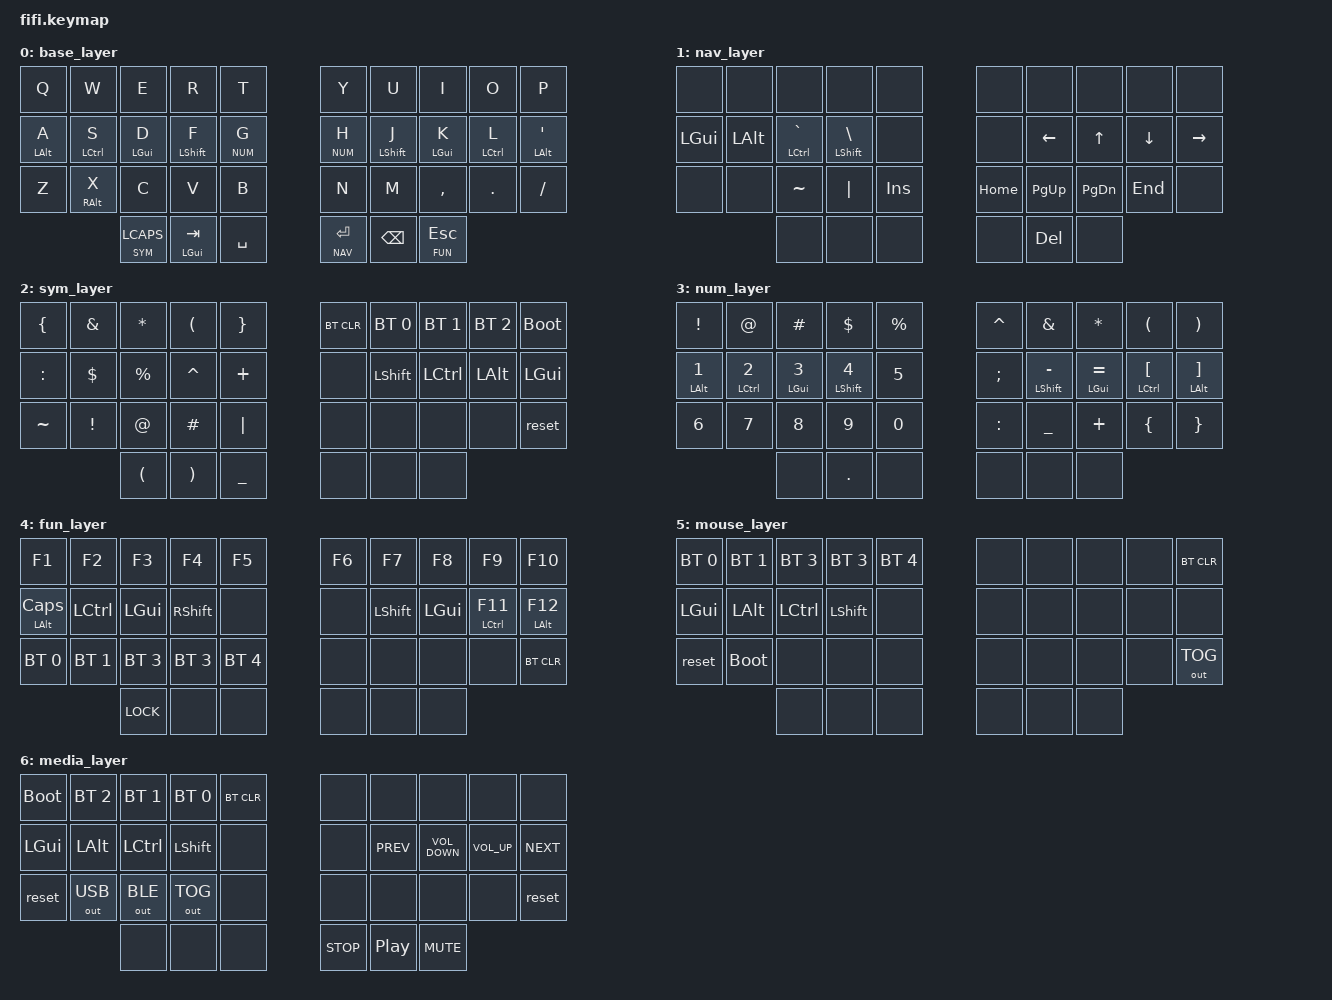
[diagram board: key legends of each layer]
/*
 * Copyright (c) 2020 The ZMK Contributors
 *
 * SPDX-License-Identifier: MIT
 */

#include <behaviors.dtsi>
#include <dt-bindings/zmk/keys.h>
#include <dt-bindings/zmk/bt.h>
#include <dt-bindings/zmk/outputs.h>

#define BASE    0
#define NAV     1
#define SYM     2
#define NUM     3
#define FUN     4
#define MOUSE   5
#define MEDIA   6

/ {
	behaviors {
		hm: homerow_mods {
			compatible = "zmk,behavior-hold-tap";
			label = "homerow mods";
			#binding-cells = <2>;
			tapping_term_ms = <120>;
			flavor = "tap-preferred";
			bindings = <&kp>, <&kp>;
		};
	};

    keymap {
        compatible = "zmk,keymap";

        base_layer {
            bindings = <
   &kp Q      &kp W        &kp E         &kp R         &kp T           &kp Y           &kp U          &kp I        &kp O         &kp P
   &hm LALT A &hm LCTRL S  &hm LGUI D    &hm LSHFT F   &lt NUM G       &lt NUM H       &hm LSHFT J    &hm LGUI K   &hm LCTRL L   &hm LALT SINGLE_QUOTE
   &kp Z      &hm RALT X   &kp C         &kp V         &kp B           &kp N           &kp M          &kp COMMA    &kp DOT       &kp FSLH
                           &lt SYM LCAPS     &hm LGUI TAB   &kp SPACE        &lt NAV ENTER   &kp BSPC  &lt FUN ESC
            >;
        };

        nav_layer {
            bindings = <
   &none      &none       &none            &none           &none        &none     &none     &none      &none      &none
   &kp LGUI   &kp LALT    &hm LCTRL GRAVE  &hm LSHFT BSLH  &none        &none     &kp LEFT  &kp UP     &kp DOWN   &kp RIGHT
   &none      &none       &kp TILDE        &kp PIPE        &kp INS      &kp HOME  &kp PG_UP  &kp PG_DN &kp END    &none   
                          &none            &none         &none        &none     &kp DEL     &none
            >;
        };

        sym_layer {
            bindings = <
   &kp LBRC    &kp AMPS   &kp ASTRK   &kp LPAR    &kp RBRC        &bt BT_CLR &bt BT_SEL 0   &bt BT_SEL 1   &bt BT_SEL 2   &bootloader
   &kp COLON   &kp DLLR   &kp PRCNT   &kp CARET   &kp PLUS        &none      &kp LSHFT      &kp LCTRL      &kp LALT       &kp LGUI
   &kp TILDE   &kp EXCL   &kp AT      &kp HASH    &kp PIPE        &none      &none          &none          &none          &reset
                          &kp LPAR    &kp RPAR    &kp UNDER       &none      &none          &none
            >;
        };

        num_layer {
            bindings = <
   &kp EXCL     &kp AT       &kp HASH     &kp DOLLAR   &kp PRCNT     &kp CARET      &kp AMPERSAND     &kp ASTRK        &kp LPAR                &kp RPAR
   &hm LALT N1  &hm LCTRL N2 &hm LGUI N3  &hm LSHFT N4 &kp N5        &kp SEMICOLON  &hm LSHFT MINUS   &hm LGUI EQUAL   &hm LCTRL LEFT_BRACKET  &hm LALT RIGHT_BRACKET
   &kp N6       &kp N7       &kp N8       &kp N9       &kp N0        &kp COLON      &kp UNDERSCORE    &kp PLUS         &kp LEFT_BRACE          &kp RIGHT_BRACE
                             &none        &kp DOT      &none         &none     &none       &none
            >;
        };

        fun_layer {
            bindings = <
   &kp F1            &kp F2         &kp F3       &kp F4       &kp F5           &kp F6    &kp F7        &kp F8      &kp F9          &kp F10
   &hm LALT CAPSLOCK &kp LCTRL      &kp LGUI     &kp RSHFT    &none            &none     &kp LSHFT     &kp LGUI    &hm LCTRL F11   &hm LALT F12
   &bt BT_SEL 0      &bt BT_SEL 1   &bt BT_SEL 3 &bt BT_SEL 3 &bt BT_SEL 4     &none     &none         &none       &none           &bt BT_CLR
                     &kp K_LOCK     &none        &none                         &none     &none         &none
            >;
        };

        mouse_layer {
            bindings = <
   &bt BT_SEL 0 &bt BT_SEL 1  &bt BT_SEL 3 &bt BT_SEL 3 &bt BT_SEL 4  &none &none &none &none &bt BT_CLR
   &kp LGUI     &kp LALT      &kp LCTRL    &kp LSHFT    &none       &none &none &none &none &none
   &reset       &bootloader   &none        &none       &none       &none &none &none &none &out OUT_TOG
                              &none        &none       &none       &none &none &none
            >;
        };

        media_layer {
            bindings = <
   &bootloader &bt BT_SEL 2 &bt BT_SEL 1 &bt BT_SEL 0 &bt BT_CLR        &none      &none      &none             &none           &none
   &kp LGUI    &kp LALT     &kp LCTRL    &kp LSHFT    &none             &none      &kp C_PREV &kp C_VOLUME_DOWN &kp C_VOLUME_UP &kp C_NEXT
   &reset      &out OUT_USB &out OUT_BLE &out OUT_TOG &none             &none      &none      &none             &none           &reset
                            &none        &none        &none             &kp C_STOP &kp C_PP   &kp C_MUTE
            >;
        };
    };
};
